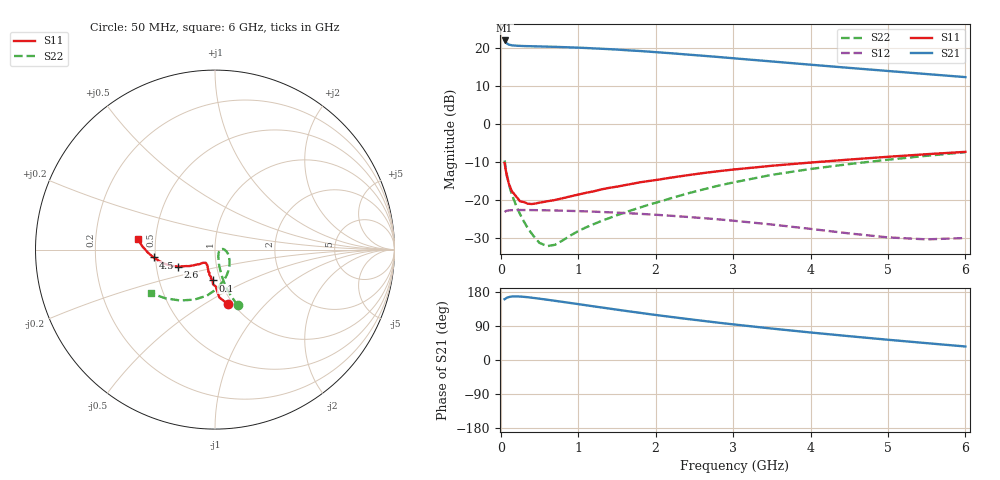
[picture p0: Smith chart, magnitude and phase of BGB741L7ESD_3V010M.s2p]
! (c) 2009  Infineon Technologies AG, Munich
!  Infineon Technologies AG
!  BGB741L7ESD
!  Vce = 3.0V, Ic = 10.0mA
!  DATUM: 30.06.2009 10:00:07
# GHz  S  MA  R  50
!f  S11  S21  S12  S22
!GHz  Mag  Ang  Mag  Ang  Mag  Ang  Mag  Ang
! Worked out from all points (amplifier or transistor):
!   44 points, 50 MHz to 6 GHz, reference 50 ohm
!   highest |S21| = 22.1 dB at 50 MHz (marker M1)
!   |S21| within 3 dB of that: start of sweep to 1.951 GHz
!   unconditionally stable (mu >= 1): 201.5 MHz to end of sweep
!   at 120 MHz: K = 0.97, MSG = 21.8 dB, |S12| = -22.6 dB
!   at 1 GHz: K = 1.03, MAG = 20.4 dB, |S12| = -22.8 dB
!   at 6 GHz: K = 2.36, MAG = 14.6 dB, |S12| = -29.9 dB
!   lowest NFmin = 0.98 dB at 450 MHz
!   S11 on the Smith chart (normalised r, x): 50 MHz: 0.94, -0.63; 100 MHz: 0.92, -0.33; 2.6 GHz: 0.65, -0.13; 4.5 GHz: 0.49, -0.05; 6 GHz: 0.39, +0.06
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0.05  0.3113 -76.9  12.73 160.5  0.07041 20.0  0.3356 -67.8
0.06  0.2676 -84.8  12.22 161.6  0.07183 16.6  0.2846 -70.3
0.07  0.2369 -86.7  11.83 163.2  0.07281 14.2  0.2467 -72.2
0.1  0.1722 -94.5  11.28 165.7  0.07382 9.6  0.174 -74.9
0.15  0.1304 -106.0  10.97 167.7  0.07459 5.7  0.1152 -75.7
0.2  0.1127 -110.6  10.86 167.8  0.07486 3.6  0.08495 -74.7
0.3  0.09531 -119.2  10.74 166.6  0.07486 1.0  0.05266 -68.9
0.6  0.09754 -131.1  10.55 159.1  0.07419 -3.4  0.02506 -26.9
0.8  0.1072 -134.3  10.4 153.3  0.07342 -5.3  0.02981 -2.5
1.1  0.126 -139.3  10.13 144.5  0.07188 -8.0  0.04423 4.6
1.4  0.1465 -143.1  9.782 135.8  0.06991 -10.3  0.05862 -5.1
1.6  0.1588 -145.8  9.502 130.0  0.06837 -11.8  0.06924 -13.2
1.9  0.1796 -149.1  9.094 121.5  0.06581 -13.7  0.08716 -26.5
2.2  0.1998 -152.2  8.64 113.7  0.06295 -15.3  0.107 -40.6
2.6  0.2285 -155.5  8.022 103.6  0.05872 -17.1  0.1386 -57.3
3  0.255 -159.1  7.428 94.1  0.05423 -18.1  0.1725 -71.6
3.5  0.2862 -163.6  6.737 83.0  0.0483 -18.1  0.2173 -86.7
4  0.3153 -168.1  6.108 72.6  0.04232 -16.2  0.2596 -99.7
4.5  0.3452 -172.7  5.546 62.8  0.03688 -11.3  0.3012 -112.3
5  0.3754 -177.6  5.049 53.4  0.03271 -2.9  0.3438 -124.4
5.5  0.4061 177.3  4.6 44.5  0.03079 9.1  0.387 -135.5
6  0.436 171.9  4.193 35.7  0.03208 22.0  0.4315 -145.7
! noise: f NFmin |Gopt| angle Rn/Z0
0.45  0.98  0.04  152  0.13
0.9  1  0.06  126  0.13
1.8  1.04  0.08  120  0.22
2.4  1.07  0.1  119  0.29
3  1.12  0.12  135  0.2
5.5  1.75  0.17  172  0.16
